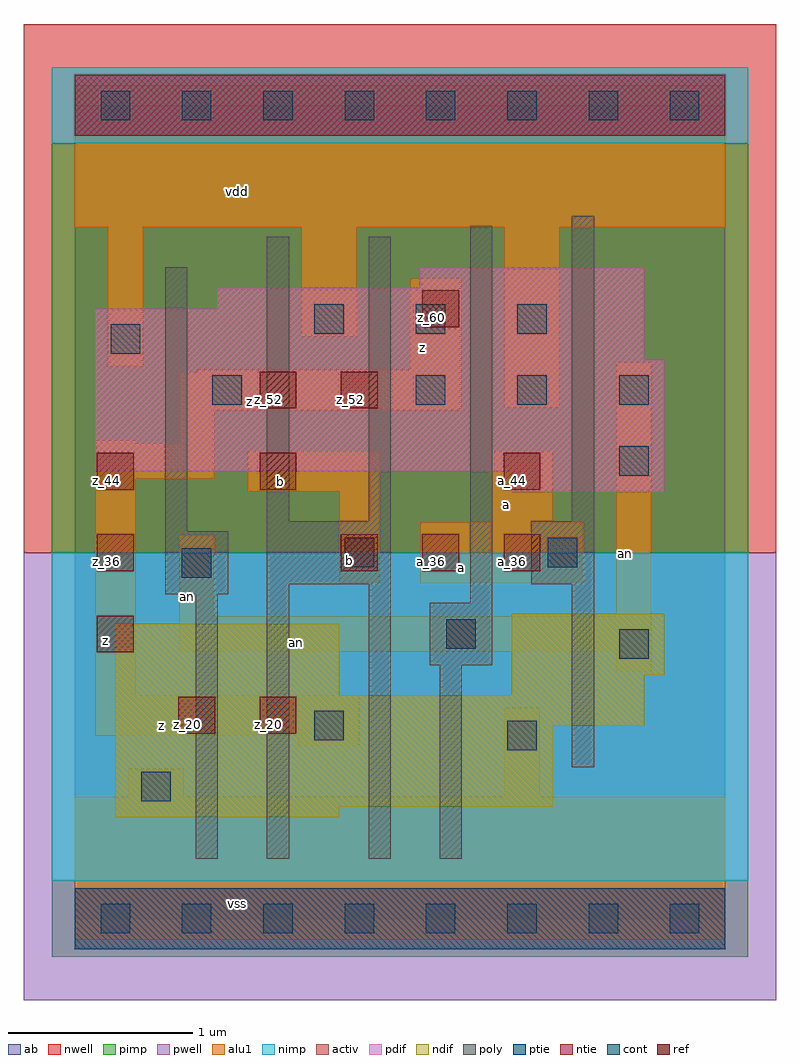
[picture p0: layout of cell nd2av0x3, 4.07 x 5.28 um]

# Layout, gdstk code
import gdstk
lib = gdstk.Library(unit=1e-6, precision=2.5e-09)
def R(c, l, rs):  # rectangles x0, y0, x1, y1
    for r in rs: c.add(gdstk.rectangle(r[:2], r[2:], *l))
def A(c, l, x, y, w, h, nx, ny, dx, dy):  # array of equal rectangles
    R(c, l, [(x+i*dx, y+j*dy, x+i*dx+w, y+j*dy+h) for i in range(nx) for j in range(ny)])
ndif = (3, 0)
pdif = (4, 0)
ntie = (5, 0)
ptie = (6, 0)
ref = (24, 0)
cont = (25, 0)
pwell = (41, 0)
nwell = (42, 0)
activ = (43, 0)
pimp = (44, 0)
nimp = (45, 0)
poly = (46, 0)
alu1 = (49, 0)
ab = (63, 0)

nd2av0x3 = lib.new_cell('nd2av0x3')
R(nd2av0x3, ndif, [(0.22,0.55,1.43,0.605), (0.22,0.605,2.585,1.045), (0.22,1.045,3.08,1.21), (0.22,1.21,1.43,1.595), (2.365,1.21,3.08,1.32), (2.365,1.32,3.19,1.65)])
R(nd2av0x3, pdif, [(2.365,2.31,3.19,2.42), (0.11,2.42,3.19,3.025), (0.11,3.025,3.08,3.3), (0.77,3.3,3.08,3.41), (1.87,3.41,3.08,3.52)])
R(nd2av0x3, ntie, [(0,4.235,3.52,4.565)])
R(nd2av0x3, ptie, [(0,-0.165,3.52,0.165)])
A(nd2av0x3, ref, 0.12, 1.44, 0.2, 0.2, 1, 3, 0, 0.44)
A(nd2av0x3, ref, 1.44, 1.88, 0.2, 0.2, 3, 1, 0.44, 0)
R(nd2av0x3, ref, [(0.56,1,0.76,1.2), (1,1,1.2,1.2), (1,2.32,1.2,2.52), (2.32,2.32,2.52,2.52), (1,2.76,1.2,2.96), (1.44,2.76,1.64,2.96), (1.88,3.2,2.08,3.4)])
A(nd2av0x3, cont, 0.14, -0.08, 0.16, 0.16, 8, 2, 0.44, 4.4)
A(nd2av0x3, cont, 1.845, 2.78, 0.16, 0.16, 3, 1, 0.55, 0)
A(nd2av0x3, cont, 1.295, 3.165, 0.16, 0.16, 3, 1, 0.55, 0)
R(nd2av0x3, cont, [(0.36,0.635,0.52,0.795), (2.34,0.91,2.5,1.07), (1.295,0.965,1.455,1.125), (2.945,1.405,3.105,1.565), (2.01,1.46,2.17,1.62), (0.58,1.845,0.74,2.005), (1.46,1.9,1.62,2.06), (2.56,1.9,2.72,2.06), (2.945,2.395,3.105,2.555), (0.745,2.78,0.905,2.94), (0.195,3.055,0.355,3.215)])
R(nd2av0x3, pwell, [(-0.275,-0.44,3.795,1.98)])
R(nd2av0x3, nwell, [(-0.275,1.98,3.795,4.84)])
R(nd2av0x3, activ, [(0,-0.165,3.52,0.165), (0.22,0.55,1.43,0.605), (0.22,0.605,2.585,1.045), (0.22,1.045,3.08,1.21), (0.22,1.21,1.43,1.595), (2.365,1.21,3.08,1.32), (2.365,1.32,3.19,1.65), (2.365,2.31,3.19,2.42), (0.11,2.42,3.19,3.025), (0.11,3.025,3.08,3.3), (0.77,3.3,3.08,3.41), (1.87,3.41,3.08,3.52), (0,4.235,3.52,4.565)])
R(nd2av0x3, pimp, [(-0.125,-0.205,3.645,0.205), (-0.125,1.98,3.645,4.195)])
R(nd2av0x3, nimp, [(-0.125,0.205,3.645,1.98), (-0.125,4.195,3.645,4.605)])
R(nd2av0x3, poly, [(0.655,0.325,0.775,1.755), (1.04,0.325,1.16,1.81), (1.59,0.325,1.71,1.81), (1.975,0.325,2.095,1.37), (2.69,0.82,2.81,1.81), (1.92,1.37,2.26,1.71), (2.14,1.71,2.26,3.745), (0.49,1.755,0.83,2.095), (1.04,1.81,1.71,2.15), (2.47,1.81,2.81,2.15), (0.49,2.095,0.61,3.525), (1.04,2.15,1.16,3.69), (1.59,2.15,1.71,3.69), (2.69,2.15,2.81,3.8)])
R(nd2av0x3, alu1, [(0,-0.11,3.52,0.66), (0.29,0.66,0.59,0.81), (2.325,0.66,2.515,1.14), (1.21,0.935,1.54,0.99), (0.11,0.99,1.54,1.21), (0.11,1.21,0.33,2.38), (2.93,1.335,3.12,1.445), (0.565,1.445,3.12,1.635), (0.565,1.635,0.755,2.075), (2.93,1.635,3.12,3.01), (1.43,1.815,1.65,2.31), (1.87,1.815,2.75,2.145), (2.255,2.145,2.585,2.53), (0.935,2.31,1.65,2.53), (0.11,2.38,0.755,2.57), (0.11,2.57,0.33,2.585), (0.565,2.57,0.755,2.75), (0.565,2.75,2.09,2.955), (2.325,2.765,2.625,3.74), (0.66,2.955,2.09,2.97), (1.815,2.97,2.09,3.465), (0.18,2.985,0.37,3.74), (1.225,3.15,1.525,3.74), (0,3.74,3.52,4.51)])
R(nd2av0x3, ab, [(0,0,3.52,4.4)])
nd2av0x3.add(gdstk.Label('vss', (0.88,0.0825), layer=49, texttype=0))
nd2av0x3.add(gdstk.Label('z', (0.4675,1.045), layer=49, texttype=0))
nd2av0x3.add(gdstk.Label('an', (1.2025,1.4925), layer=49, texttype=0))
nd2av0x3.add(gdstk.Label('an', (2.9775,1.9775), layer=49, texttype=0))
nd2av0x3.add(gdstk.Label('a', (2.09,1.8975), layer=49, texttype=0))
nd2av0x3.add(gdstk.Label('a', (2.3375,2.24), layer=49, texttype=0))
nd2av0x3.add(gdstk.Label('b', (1.485,1.9375), layer=49, texttype=0))
nd2av0x3.add(gdstk.Label('an', (0.6125,1.745), layer=49, texttype=0))
nd2av0x3.add(gdstk.Label('b', (1.1125,2.365), layer=49, texttype=0))
nd2av0x3.add(gdstk.Label('z', (0.165,1.5025), layer=49, texttype=0))
nd2av0x3.add(gdstk.Label('z', (0.945,2.8), layer=49, texttype=0))
nd2av0x3.add(gdstk.Label('z', (1.8825,3.0925), layer=49, texttype=0))
nd2av0x3.add(gdstk.Label('vdd', (0.88,3.9325), layer=49, texttype=0))
nd2av0x3.add(gdstk.Label('z_20', (0.61,1.05), layer=24, texttype=0))
nd2av0x3.add(gdstk.Label('z_20', (1.05,1.05), layer=24, texttype=0))
nd2av0x3.add(gdstk.Label('b_44', (1.05,2.37), layer=24, texttype=0))
nd2av0x3.add(gdstk.Label('z_52', (1.05,2.81), layer=24, texttype=0))
nd2av0x3.add(gdstk.Label('b_36', (1.49,1.93), layer=24, texttype=0))
nd2av0x3.add(gdstk.Label('z_52', (1.49,2.81), layer=24, texttype=0))
nd2av0x3.add(gdstk.Label('a_36', (1.93,1.93), layer=24, texttype=0))
nd2av0x3.add(gdstk.Label('z_60', (1.93,3.25), layer=24, texttype=0))
nd2av0x3.add(gdstk.Label('z_28', (0.17,1.49), layer=24, texttype=0))
nd2av0x3.add(gdstk.Label('z_36', (0.17,1.93), layer=24, texttype=0))
nd2av0x3.add(gdstk.Label('z_44', (0.17,2.37), layer=24, texttype=0))
nd2av0x3.add(gdstk.Label('a_36', (2.37,1.93), layer=24, texttype=0))
nd2av0x3.add(gdstk.Label('a_44', (2.37,2.37), layer=24, texttype=0))

lib.write_gds('nd2av0x3.gds')
